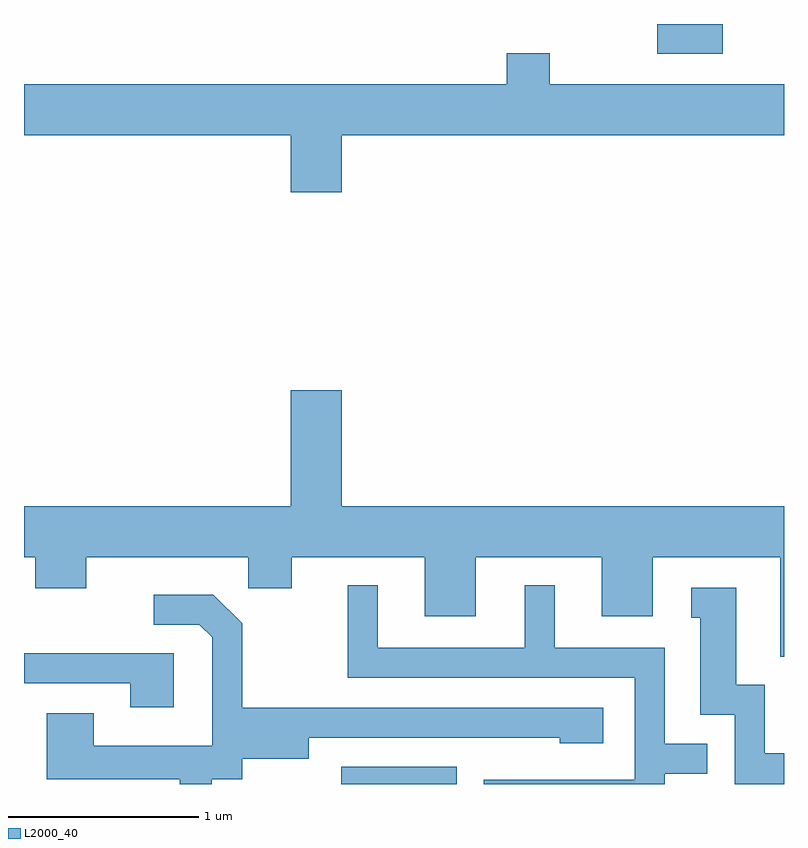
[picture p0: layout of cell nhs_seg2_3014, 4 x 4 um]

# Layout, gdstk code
import gdstk
lib = gdstk.Library(unit=1e-6, precision=1e-09)
def R(c, l, rs):  # rectangles x0, y0, x1, y1
    for r in rs: c.add(gdstk.rectangle(r[:2], r[2:], *l))
def P(c, l, *ps):  # polygons
    for p in ps: c.add(gdstk.Polygon(p, *l))
L2000_40 = (2000, 40)

nhs_seg2_3014 = lib.new_cell('nhs_seg2_3014')
R(nhs_seg2_3014, L2000_40, [(275.281,1033.802,275.888,1033.894), (276.943,1037.646,277.289,1037.802)])
P(nhs_seg2_3014, L2000_40, [(275.284,1037.216),(277.611,1037.216),(277.611,1037.484),(276.379,1037.484),(276.379,1037.649),(276.151,1037.649),(276.151,1037.484),(273.611,1037.484),(273.611,1037.216),(275.016,1037.216),(275.016,1036.916),(275.284,1036.916)],
  [(277.611,1035.264),(275.284,1035.264),(275.284,1035.874),(275.016,1035.874),(275.016,1035.264),(273.611,1035.264),(273.611,1034.996),(273.671,1034.996),(273.671,1034.831),(273.939,1034.831),(273.939,1034.996),(274.791,1034.996),(274.791,1034.831),(275.019,1034.831),(275.019,1034.996),(275.721,1034.996),(275.721,1034.686),(275.989,1034.686),(275.989,1034.996),(276.651,1034.996),(276.651,1034.686),(276.919,1034.686),(276.919,1034.996),(277.591,1034.996),(277.591,1034.471),(277.611,1034.471)],
  [(276.984,1033.856),(277.208,1033.856),(277.208,1034.014),(276.984,1034.014),(276.984,1034.519),(276.404,1034.519),(276.404,1034.848),(276.246,1034.848),(276.246,1034.519),(275.474,1034.519),(275.474,1034.848),(275.316,1034.848),(275.316,1034.361),(276.826,1034.361),(276.826,1033.824),(276.031,1033.824),(276.031,1033.802),(276.984,1033.802)],
  [(277.611,1033.964),(277.509,1033.964),(277.509,1034.324),(277.359,1034.324),(277.359,1034.834),(277.123,1034.834),(277.123,1034.676),(277.171,1034.676),(277.171,1034.166),(277.351,1034.166),(277.351,1033.802),(277.611,1033.802)],
  [(274.599,1033.826),(274.759,1033.826),(274.759,1033.936),(275.109,1033.936),(275.109,1034.046),(276.431,1034.046),(276.431,1034.016),(276.659,1034.016),(276.659,1034.204),(274.759,1034.204),(274.759,1034.647),(274.607,1034.799),(274.293,1034.799),(274.293,1034.641),(274.534,1034.641),(274.601,1034.574),(274.601,1034.004),(273.979,1034.004),(273.979,1034.174),(273.731,1034.174),(273.731,1033.826),(274.431,1033.826),(274.431,1033.802),(274.599,1033.802)],
  [(274.399,1034.489),(273.611,1034.489),(273.611,1034.331),(274.171,1034.331),(274.171,1034.206),(274.399,1034.206)])

lib.write_gds('nhs_seg2_3014.gds')
